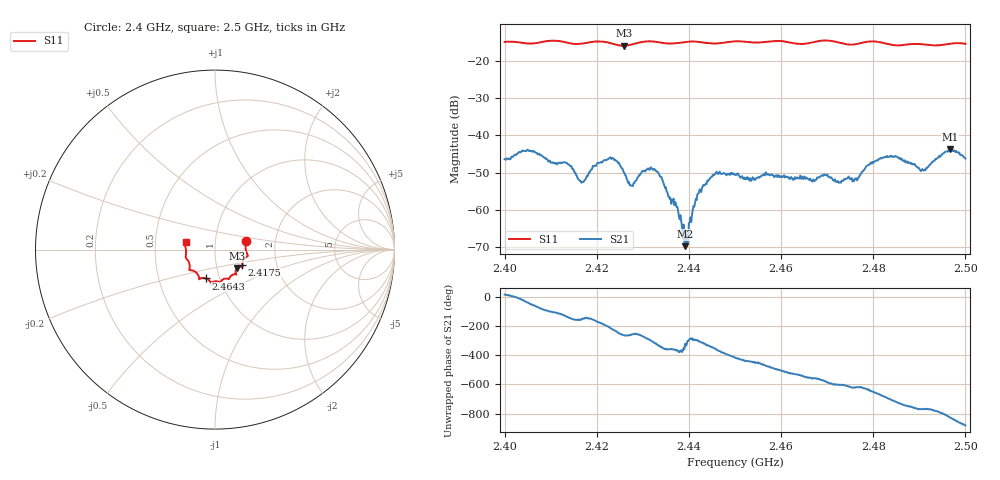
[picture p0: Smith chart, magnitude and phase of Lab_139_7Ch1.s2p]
# Hz S RI R 50
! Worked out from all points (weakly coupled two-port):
!   601 points, 2.4 GHz to 2.5 GHz, reference 50 ohm
!   highest |S21| = -43.78 dB at 2.4967 GHz (marker M1); lowest = -69.7 dB at 2.4392 GHz (marker M2)
!   lowest |S11| = -15.9 dB at 2.4258 GHz (marker M3), VSWR 1.38, Z = 62.3 - j13.2 ohm
!   |S11| at or under -10 dB: start of sweep to end of sweep
!   S12 and S22 are empty: the file has one direction only
!   S11 on the Smith chart (normalised r, x): 2.4 GHz: 1.41, +0.14; 2.4175 GHz: 1.34, -0.23; 2.4643 GHz: 0.86, -0.28; 2.5 GHz: 0.72, +0.06
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2.4e9  0.1732 0.0485  0.00461 0.00134  0 0  0 0
2.406e9  0.171 0.00201  0.00364 -0.00498  0 0  0 0
2.413667e9  0.1692 -0.0449  -0.00305 -0.00281  0 0  0 0
2.416667e9  0.153 -0.0744  -0.00209 -0.000996  0 0  0 0
2.4175e9  0.1519 -0.0838  -0.00202 -0.00154  0 0  0 0
2.423e9  0.1452 -0.0942  -0.00422 0.00284  0 0  0 0
2.425833e9  0.1219 -0.1033  -0.000421 0.00317  0 0  0 0
2.427667e9  0.1149 -0.1202  -0.000513 0.00205  0 0  0 0
2.430333e9  0.1181 -0.1373  0.000418 0.00335  0 0  0 0
2.433333e9  0.1129 -0.1376  0.00282 0.00142  0 0  0 0
2.437167e9  0.0861 -0.1496  0.00121 -0.000167  0 0  0 0
2.439167e9  0.0797 -0.16  0.000257 0.000201  0 0  0 0
2.442833e9  0.0706 -0.1628  0.00139 0.00143  0 0  0 0
2.445667e9  0.0502 -0.1636  0.00305 0.000226  0 0  0 0
2.45e9  0.0287 -0.1809  0.00163 -0.00253  0 0  0 0
2.464333e9  -0.0503 -0.1608  -0.00262 -4.58e-05  0 0  0 0
2.466667e9  -0.0761 -0.159  -0.0023 0.000816  0 0  0 0
2.476e9  -0.1161 -0.1195  -0.000376 0.00258  0 0  0 0
2.483333e9  -0.1411 -0.09  0.00477 0.00189  0 0  0 0
2.490833e9  -0.1627 -0.0352  0.00218 -0.00262  0 0  0 0
2.496667e9  -0.1682 0.0248  -0.00193 -0.00618  0 0  0 0
2.5e9  -0.164 0.043  -0.00464 -0.00153  0 0  0 0
